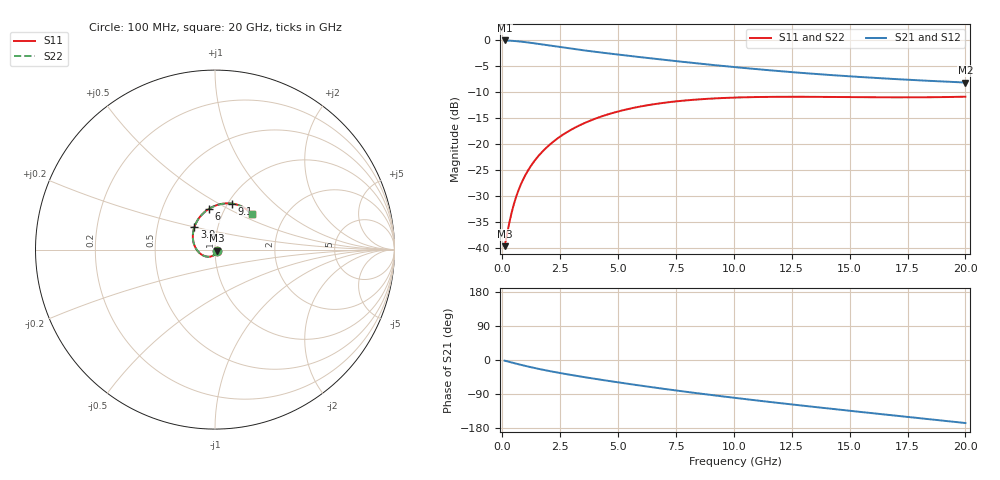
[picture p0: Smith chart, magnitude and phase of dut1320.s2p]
! Touchstone file exported from HFSS 2024.1.0
!  File:  C:/UserFiles/LocalFiles/RDL_TSV_Batchsim/temp_RDL_TSV_1320_1780386943.aedt
!  Generated:  04:11:35 PM Jun  2, 2026
!  Design:  RDL_TSV
!  Project:  temp_RDL_TSV_1320_1780386943
!  Setup:  Setup1
!  Solution:  Sweep
! Variables:
!  dtsv = 11.23um
!  hbump = 3um
!  htsv = 98.16um
!  ldown = 150.78um
!  lrdl = 383.78um
!  p = 40
!  p1 = 49.95um
!  rhole = 10um
!  subl = 1987.46um
!  t = 450um
!  tdown = 2.56um
!  trdl = 4.06um
!  viad = 10um
!  wdown = 29.92um
!  wrdl = 21.75um
!  xbump = 18um
# GHz S MA R 50.000000
! Terminal data exported
! Port[1] = TM1_1_T1
! Port[2] = TM1_4_T1
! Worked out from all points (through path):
!   200 points, 100 MHz to 20 GHz, reference 50 ohm
!   highest |S21| = -0.09 dB at 100 MHz (marker M1); lowest = -8.2 dB at 20 GHz (marker M2)
!   group delay of S21, straight-line fit = 21.7 ps
!   lowest |S11| = -39.7 dB at 100 MHz (marker M3), VSWR 1.02, Z = 50.9 - j0.54 ohm
!   |S11| at or under -10 dB: start of sweep to end of sweep
!   |S22| runs from -39.7 to -10.9 dB; largest |S21 - S12| = 9.1e-15
!   S11 on the Smith chart (normalised r, x): 100 MHz: 1.02, -0.01; 3.9 GHz: 0.77, +0.20; 6 GHz: 0.85, +0.41; 9.1 GHz: 1.05, +0.58; 20 GHz: 1.38, +0.59
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0.1  0.01038 -30.7  0.9902 -1.7  0.9902 -1.7  0.01038 -30.7
! Gamma 0 0 0 0
! Port Impedance 50 0 50 0
0.3  0.0173 -70.0  0.9861 -5.0  0.9861 -5.0  0.0173 -69.9
0.4  0.02171 -82.2  0.9831 -6.6  0.9831 -6.6  0.02171 -82.2
0.6  0.03108 -100.8  0.9753 -9.7  0.9753 -9.7  0.03108 -100.8
0.9  0.04547 -121.8  0.9601 -14.2  0.9601 -14.2  0.04547 -121.8
1.2  0.05976 -138.9  0.9417 -18.5  0.9417 -18.5  0.05975 -138.9
1.7  0.08292 -162.6  0.9078 -25.1  0.9078 -25.1  0.0829 -162.6
2.2  0.1051 177.9  0.8738 -31.1  0.8738 -31.1  0.105 177.9
2.8  0.1301 158.8  0.8359 -37.7  0.8359 -37.7  0.13 158.8
3.5  0.157 140.7  0.7964 -44.8  0.7964 -44.8  0.1569 140.7
3.9  0.1711 131.9  0.7758 -48.7  0.7758 -48.7  0.171 131.9
4.9  0.2024 113.8  0.7288 -58.1  0.7288 -58.1  0.2022 113.8
6  0.23 98.3  0.6826 -67.8  0.6826 -67.8  0.2297 98.3
6.8  0.2457 89.1  0.6518 -74.6  0.6518 -74.6  0.2454 89.1
7.9  0.262 78.6  0.6129 -83.6  0.6129 -83.6  0.2616 78.6
9.1  0.2737 69.5  0.575 -92.9  0.575 -92.9  0.2733 69.5
10.1  0.2796 63.4  0.5468 -100.3  0.5468 -100.3  0.2792 63.4
11.7  0.2839 55.7  0.5078 -111.7  0.5078 -111.7  0.2835 55.7
13.4  0.284 50.0  0.4737 -123.3  0.4737 -123.3  0.2835 50.0
15  0.2822 46.5  0.4473 -134.0  0.4473 -134.0  0.2818 46.6
16.7  0.2807 44.4  0.4242 -145.0  0.4242 -145.0  0.2803 44.5
20  0.2848 43.4  0.3898 -166.3  0.3898 -166.3  0.2843 43.5
